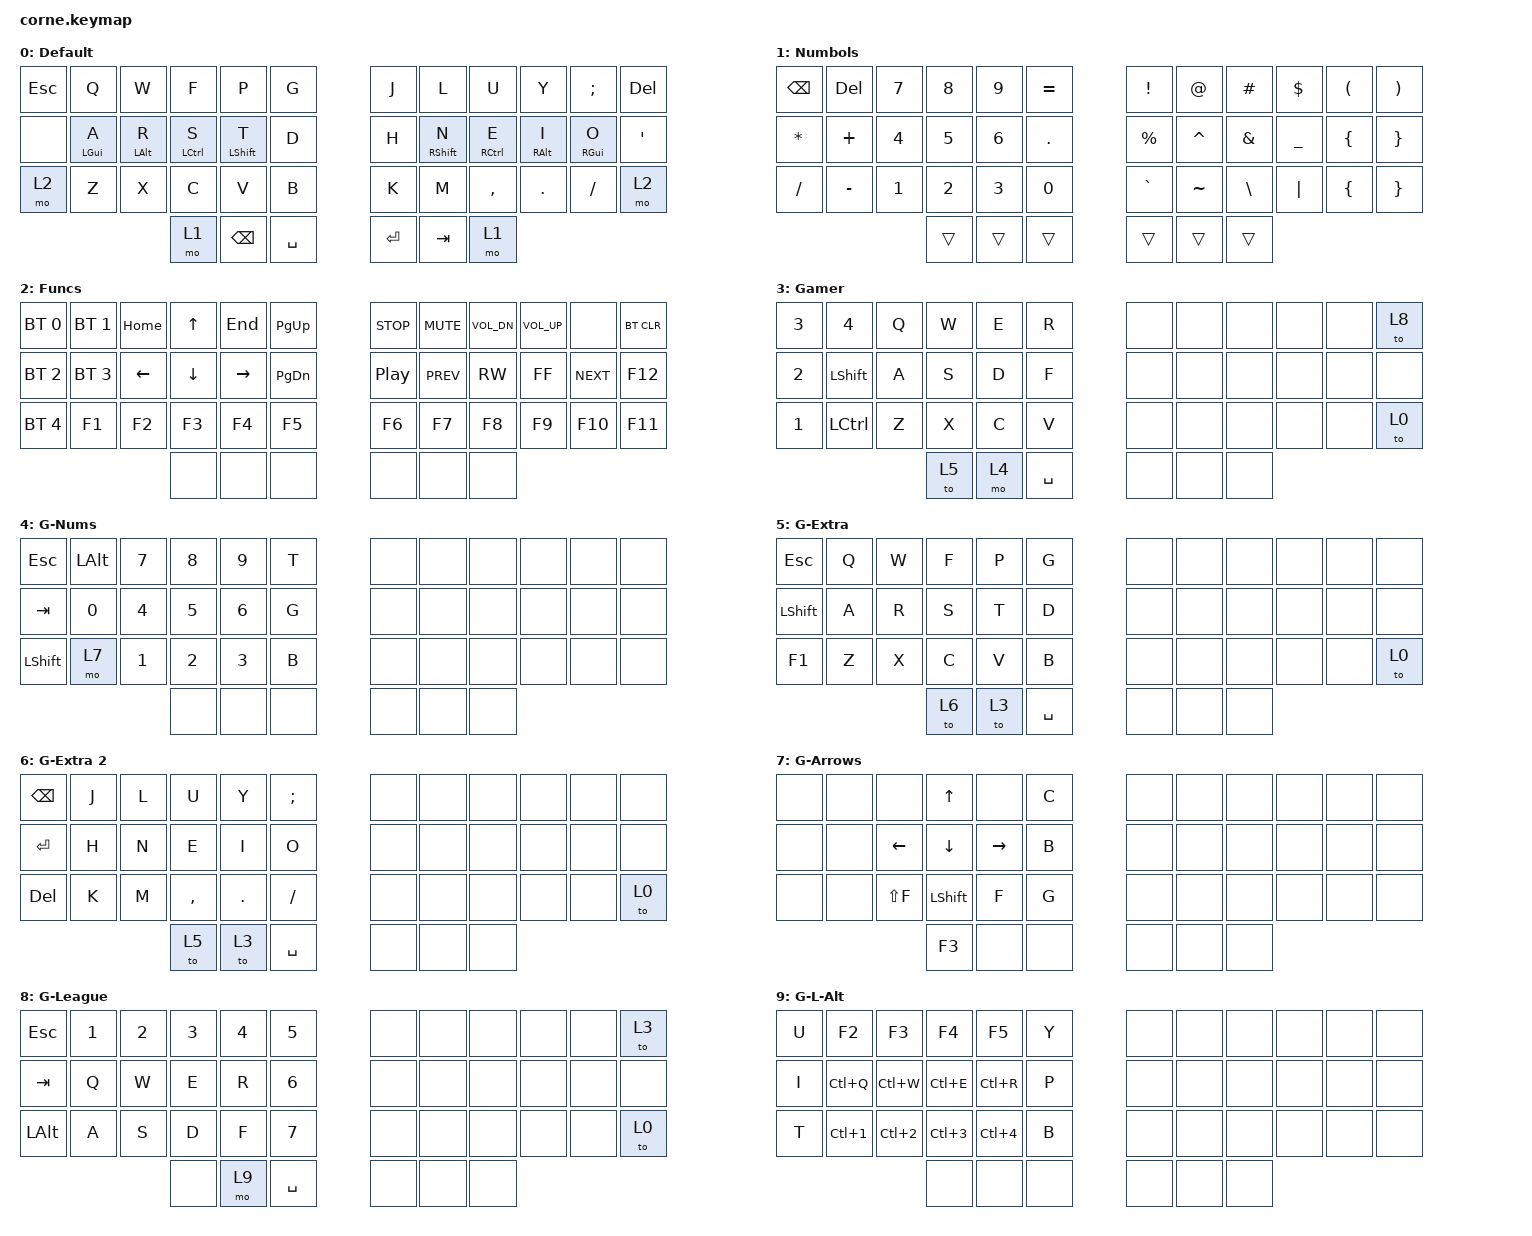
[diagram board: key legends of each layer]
/*
 * Copyright (c) 2020 The ZMK Contributors
 *
 * SPDX-License-Identifier: MIT
 */

#include <behaviors.dtsi>
#include <dt-bindings/zmk/bt.h>
#include <dt-bindings/zmk/keys.h>

&mt {
    flavor = "tap-preferred";
    quick-tap-ms = <100>;
};

&sk { quick-release; };

/ {
    combos {
        compatible = "zmk,combos";

        gamer-access {
            bindings = <&to 3>;
            key-positions = <37 40>;
        };
    };

    keymap {
        compatible = "zmk,keymap";

        default {
            display-name = "Default";
            bindings = <
&kp ESC  &kp Q             &kp W           &kp F            &kp P            &kp G        &kp J    &kp L             &kp U            &kp Y           &kp SEMI         &kp DEL
&none    &mt LGUI A        &mt LALT R      &mt LCTRL S      &mt LSHFT T      &kp D        &kp H    &mt RSHFT N       &mt RCTRL E      &mt RALT I      &mt RGUI O       &kp SQT
&mo 2    &kp Z             &kp X           &kp C            &kp V            &kp B        &kp K    &kp M             &kp COMMA        &kp DOT         &kp FSLH         &mo 2
                                           &mo 1            &kp BSPC         &kp SPACE    &kp RET  &kp TAB           &mo 1
            >;
        };

        numbols {
            display-name = "Numbols";
            bindings = <
&kp BSPC      &kp DEL    &kp N7  &kp N8  &kp N9  &kp EQUAL    &kp EXCL     &kp AT     &kp HASH  &kp DOLLAR  &kp LPAR   &kp RPAR
&kp ASTERISK  &kp PLUS   &kp N4  &kp N5  &kp N6  &kp DOT      &kp PERCENT  &kp CARET  &kp AMPS  &kp UNDER   &kp LBRC   &kp RBRC
&kp FSLH      &kp MINUS  &kp N1  &kp N2  &kp N3  &kp N0       &kp GRAVE    &kp TILDE  &kp BSLH  &kp PIPE    &kp LBRC   &kp RBRC
                                 &trans  &trans  &trans       &trans       &trans     &trans
            >;
        };

        functions {
            display-name = "Funcs";
            bindings = <
&bt BT_SEL 0  &bt BT_SEL 1  &kp HOME  &kp UP    &kp END    &kp PG_UP    &kp C_STOP  &kp K_MUTE  &kp C_VOL_DN  &kp C_VOL_UP  &none       &bt BT_CLR
&bt BT_SEL 2  &bt BT_SEL 3  &kp LEFT  &kp DOWN  &kp RIGHT  &kp PG_DN    &kp C_PP    &kp C_PREV  &kp C_RW      &kp C_FF      &kp C_NEXT  &kp F12
&bt BT_SEL 4  &kp F1        &kp F2    &kp F3    &kp F4     &kp F5       &kp F6      &kp F7      &kp F8        &kp F9        &kp F10     &kp F11
                                      &none     &none      &none        &none       &none       &none
            >;
        };

        gamer {
            display-name = "Gamer";
            bindings = <
&kp N3  &kp N4      &kp Q  &kp W  &kp E  &kp R        &none  &none  &none  &none  &none  &to 8
&kp N2  &kp LSHFT   &kp A  &kp S  &kp D  &kp F        &none  &none  &none  &none  &none  &none
&kp N1  &kp LCTRL   &kp Z  &kp X  &kp C  &kp V        &none  &none  &none  &none  &none  &to 0
                           &to 5  &mo 4  &kp SPACE    &none  &none  &none
            >;
        };

        gamer_nums {
            display-name = "G-Nums";
            bindings = <
&kp ESC    &kp LALT  &kp N7  &kp N8  &kp N9  &kp T    &none  &none  &none  &none  &none  &none
&kp TAB    &kp N0    &kp N4  &kp N5  &kp N6  &kp G    &none  &none  &none  &none  &none  &none
&kp LSHFT  &mo 7   &kp N1  &kp N2  &kp N3  &kp B    &none  &none  &none  &none  &none  &none
                           &none   &none   &none    &none  &none  &none
            >;
        };

        gamer_extra {
            display-name = "G-Extra";
            bindings = <
&kp ESC    &kp Q  &kp W  &kp F  &kp P  &kp G    &none  &none  &none  &none  &none  &none
&kp LSHFT  &kp A  &kp R  &kp S  &kp T  &kp D    &none  &none  &none  &none  &none  &none
&kp F1     &kp Z  &kp X  &kp C  &kp V  &kp B    &none  &none  &none  &none  &none  &to 0
                         &to 6  &to 3  &kp SPACE    &none  &none  &none
            >;
        };

        gamer_extra2 {
            display-name = "G-Extra 2";
            bindings = <
&kp BSPC  &kp J  &kp L  &kp U      &kp Y    &kp SEMI    &none  &none  &none  &none  &none  &none
&kp RET   &kp H  &kp N  &kp E      &kp I    &kp O       &none  &none  &none  &none  &none  &none
&kp DEL   &kp K  &kp M  &kp COMMA  &kp DOT  &kp FSLH    &none  &none  &none  &none  &none  &to 0
                        &to 5      &to 3    &kp SPACE   &none  &none  &none
            >;
        };

        gamer_arrows {
            display-name = "G-Arrows";
            bindings = <
&none  &none  &none      &kp UP     &none      &kp C    &none  &none  &none  &none  &none  &none
&none  &none  &kp LEFT   &kp DOWN   &kp RIGHT  &kp B    &none  &none  &none  &none  &none  &none
&none  &none  &kp LS(F)  &kp LSHFT  &kp F      &kp G    &none  &none  &none  &none  &none  &none
                         &kp F3     &none      &none    &none  &none  &none
            >;
        };

        gamer_league {
            display-name = "G-League";
            bindings = <
&kp ESC   &kp N1  &kp N2  &kp N3  &kp N4  &kp N5    &none  &none  &none  &none  &none  &to 3
&kp TAB   &kp Q   &kp W   &kp E   &kp R   &kp N6    &none  &none  &none  &none  &none  &none
&kp LALT  &kp A   &kp S   &kp D   &kp F   &kp N7    &none  &none  &none  &none  &none  &to 0
                          &none   &mo 9   &kp SPACE    &none  &none  &none
            >;
        };

        gamer_l_alt {
            display-name = "G-L-Alt";
            bindings = <
&kp U  &kp F2      &kp F3      &kp F4      &kp F5      &kp Y    &none  &none  &none  &none  &none  &none
&kp I  &kp LC(Q)   &kp LC(W)   &kp LC(E)   &kp LC(R)   &kp P    &none  &none  &none  &none  &none  &none
&kp T  &kp LC(N1)  &kp LC(N2)  &kp LC(N3)  &kp LC(N4)  &kp B    &none  &none  &none  &none  &none  &none
                               &none       &none       &none    &none  &none  &none
            >;
        };

        extra1 { status = "reserved"; };

        extra2 { status = "reserved"; };

        extra3 { status = "reserved"; };

        extra4 { status = "reserved"; };
    };
};
